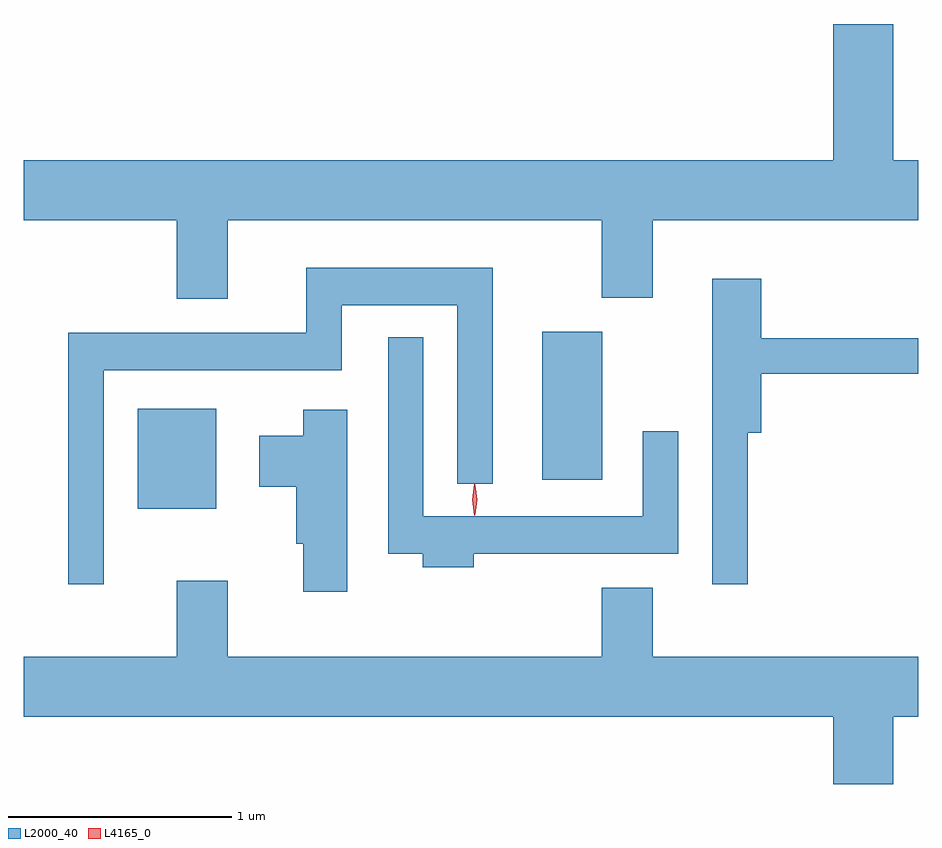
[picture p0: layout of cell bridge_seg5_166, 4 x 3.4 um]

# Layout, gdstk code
import gdstk
lib = gdstk.Library(unit=1e-6, precision=1e-09)
def R(c, l, rs):  # rectangles x0, y0, x1, y1
    for r in rs: c.add(gdstk.rectangle(r[:2], r[2:], *l))
def P(c, l, *ps):  # polygons
    for p in ps: c.add(gdstk.Polygon(p, *l))
L2000_40 = (2000, 40)
L4165_0 = (4165, 0)

bridge_seg5_166 = lib.new_cell('bridge_seg5_166')
R(bridge_seg5_166, L2000_40, [(1230.946,1415.546,1231.299,1415.994), (1232.756,1415.676,1233.024,1416.339)])
P(bridge_seg5_166, L2000_40, [(1231.349,1416.836),(1233.021,1416.836),(1233.021,1416.491),(1233.249,1416.491),(1233.249,1416.836),(1234.437,1416.836),(1234.437,1417.104),(1234.324,1417.104),(1234.324,1417.714),(1234.056,1417.714),(1234.056,1417.104),(1230.437,1417.104),(1230.437,1416.836),(1231.121,1416.836),(1231.121,1416.486),(1231.349,1416.486)],
  [(1230.794,1416.166),(1231.859,1416.166),(1231.859,1416.456),(1232.376,1416.456),(1232.376,1415.658),(1232.534,1415.658),(1232.534,1416.624),(1231.701,1416.624),(1231.701,1416.334),(1230.636,1416.334),(1230.636,1415.208),(1230.794,1415.208)],
  [(1233.674,1415.886),(1233.734,1415.886),(1233.734,1416.151),(1234.437,1416.151),(1234.437,1416.309),(1233.734,1416.309),(1233.734,1416.574),(1233.516,1416.574),(1233.516,1415.208),(1233.674,1415.208)],
  [(1232.449,1415.346),(1233.364,1415.346),(1233.364,1415.893),(1233.206,1415.893),(1233.206,1415.514),(1232.224,1415.514),(1232.224,1416.313),(1232.066,1416.313),(1232.066,1415.346),(1232.221,1415.346),(1232.221,1415.286),(1232.449,1415.286)],
  [(1231.884,1415.989),(1231.686,1415.989),(1231.686,1415.874),(1231.491,1415.874),(1231.491,1415.646),(1231.656,1415.646),(1231.656,1415.391),(1231.686,1415.391),(1231.686,1415.176),(1231.884,1415.176)],
  [(1234.324,1414.616),(1234.437,1414.616),(1234.437,1414.884),(1233.249,1414.884),(1233.249,1415.194),(1233.021,1415.194),(1233.021,1414.884),(1231.349,1414.884),(1231.349,1415.224),(1231.121,1415.224),(1231.121,1414.884),(1230.437,1414.884),(1230.437,1414.616),(1234.056,1414.616),(1234.056,1414.316),(1234.324,1414.316)])
P(bridge_seg5_166, L4165_0, [(1232.455,1415.519),(1232.454,1415.52),(1232.445,1415.586),(1232.454,1415.652),(1232.455,1415.653),(1232.456,1415.652),(1232.465,1415.586),(1232.456,1415.52)],
  [(1232.452,1415.517),(1232.452,1415.517),(1232.442,1415.587),(1232.452,1415.656),(1232.452,1415.656),(1232.453,1415.656),(1232.462,1415.587),(1232.453,1415.517)])

lib.write_gds('bridge_seg5_166.gds')
